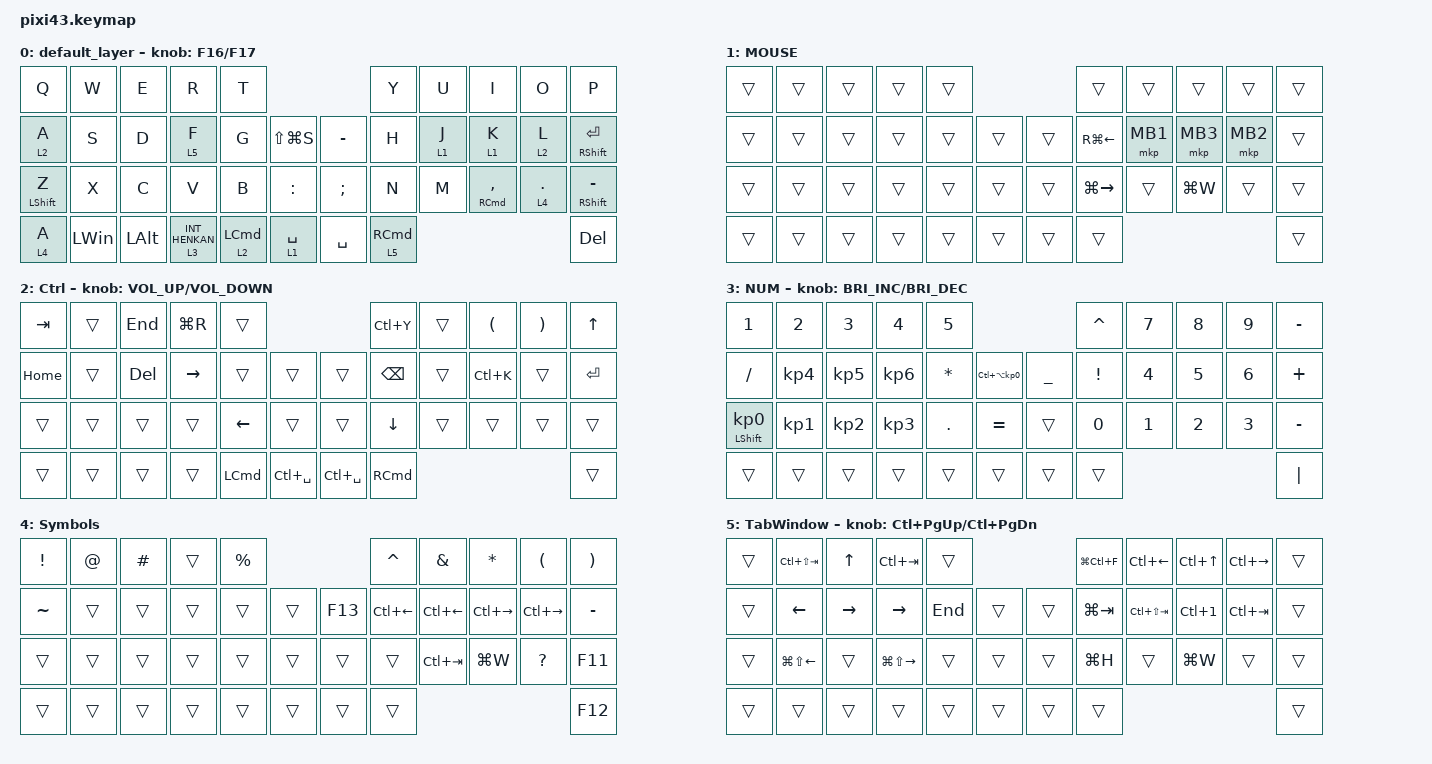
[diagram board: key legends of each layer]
#include <behaviors.dtsi>
#include <dt-bindings/zmk/keys.h>
#include <dt-bindings/zmk/pointing.h>

&mt {
    flavor = "balanced";
    quick-tap-ms = <0>;
};

&trackball {
    //automouse-layer = <1>;

    scroll-layers = <2>;
};

/ {
    combos {
        compatible = "zmk,combos";

        tab {
            bindings = <&kp TAB>;
            key-positions = <11 12>;
        };

        shift_tab {
            bindings = <&kp LS(TAB)>;
            key-positions = <12 13>;
        };

        muhennkann {
            bindings = <&to_layer_0 INT_MUHENKAN>;
            key-positions = <11 10>;
        };

        double_quotation {
            bindings = <&kp DOUBLE_QUOTES>;
            key-positions = <20 21>;
        };

        eq {
            bindings = <&kp EQUAL>;
            key-positions = <24 25>;
        };
    };

    macros {
        to_layer_0: to_layer_0 {
            compatible = "zmk,behavior-macro-one-param";
            #binding-cells = <1>;
            bindings = <&to 0 &macro_param_1to1 &kp MACRO_PLACEHOLDER>;
            label = "TO_LAYER_0";
        };
    };

    behaviors {
        lt_to_layer_0: lt_to_layer_0 {
            compatible = "zmk,behavior-hold-tap";
            label = "LAYER_TAP_TO_0";
            bindings = <&mo>, <&to_layer_0>;

            #binding-cells = <2>;
            tapping-term-ms = <200>;
        };
    };

    keymap {
        compatible = "zmk,keymap";

        default_layer {
            bindings = <
&kp Q             &kp W         &kp E         &kp R             &kp T                                                 &kp Y                &kp U    &kp I                    &kp O         &kp P
&lt 2 A           &kp S         &kp D         &lt 5 F           &kp G               &kp LS(LG(S))      &kp MINUS      &kp H                &lt 1 J  &lt 1 K                  &lt 2 L       &mt RIGHT_SHIFT ENTER
&mt LEFT_SHIFT Z  &kp X         &kp C         &kp V             &kp B               &kp COLON          &kp SEMICOLON  &kp N                &kp M    &mt RIGHT_COMMAND COMMA  &lt 4 PERIOD  &mt RIGHT_SHIFT MINUS
&lt 4 A           &kp LEFT_WIN  &kp LEFT_ALT  &lt 3 INT_HENKAN  &lt 2 LEFT_COMMAND  &lt 1 SPACE        &kp SPACE      &lt 5 RIGHT_COMMAND                                                  &kp DEL
            >;

            // Keymap Editorにそのまま反映されるシンプルなF20/F21設定

            sensor-bindings = <&inc_dec_kp F16 F17>;
        };

        MOUSE {
            bindings = <
&trans  &trans  &trans  &trans  &trans                      &trans               &trans    &trans     &trans    &trans
&trans  &trans  &trans  &trans  &trans  &trans      &trans  &kp RG(LEFT_ARROW)   &mkp MB1  &mkp MB3   &mkp MB2  &trans
&trans  &trans  &trans  &trans  &trans  &trans      &trans  &kp LG(RIGHT_ARROW)  &trans    &kp LG(W)  &trans    &trans
&trans  &trans  &trans  &trans  &trans  &trans      &trans  &trans                                              &trans
            >;
        };

        Ctrl {
            bindings = <
&kp TAB   &trans  &kp END  &kp LG(R)        &trans                                              &kp LC(Y)          &trans  &kp LEFT_PARENTHESIS  &kp RIGHT_PARENTHESIS  &kp UP_ARROW
&kp HOME  &trans  &kp DEL  &kp RIGHT_ARROW  &trans            &trans             &trans         &kp BACKSPACE      &trans  &kp LC(K)             &trans                 &kp ENTER
&trans    &trans  &trans   &trans           &kp LEFT_ARROW    &trans             &trans         &kp DOWN_ARROW     &trans  &trans                &trans                 &trans
&trans    &trans  &trans   &trans           &kp LEFT_COMMAND  &kp LC(SPACE)      &kp LC(SPACE)  &kp RIGHT_COMMAND                                                       &trans
            >;

            sensor-bindings = <&inc_dec_kp C_VOLUME_UP C_VOLUME_DOWN>;
        };

        NUM {
            bindings = <
&kp NUMBER_1                &kp NUMBER_2     &kp NUMBER_3     &kp NUMBER_4     &kp NUMBER_5                                               &kp CARET        &kp N7        &kp N8        &kp N9        &kp MINUS
&kp SLASH                   &kp KP_NUMBER_4  &kp KP_NUMBER_5  &kp KP_NUMBER_6  &kp ASTERISK  &kp LC(LA(KP_NUMBER_0))      &kp UNDERSCORE  &kp EXCLAMATION  &kp NUMBER_4  &kp NUMBER_5  &kp NUMBER_6  &kp PLUS
&mt LEFT_SHIFT KP_NUMBER_0  &kp KP_NUMBER_1  &kp KP_NUMBER_2  &kp KP_NUMBER_3  &kp PERIOD    &kp EQUAL                    &trans          &kp N0           &kp NUMBER_1  &kp NUMBER_2  &kp NUMBER_3  &kp MINUS
&trans                      &trans           &trans           &trans           &trans        &trans                       &trans          &trans                                                     &kp PIPE
            >;

            sensor-bindings = <&inc_dec_kp C_BRIGHTNESS_INC C_BRIGHTNESS_DEC>;
        };

        Symbols {
            bindings = <
&kp EXCLAMATION  &kp AT_SIGN  &kp HASH  &trans  &kp PERCENT                       &kp CARET           &kp AMPERSAND       &kp ASTERISK         &kp LEFT_PARENTHESIS  &kp RIGHT_PARENTHESIS
&kp TILDE        &trans       &trans    &trans  &trans       &trans      &kp F13  &kp LC(LEFT_ARROW)  &kp LC(LEFT_ARROW)  &kp LC(RIGHT_ARROW)  &kp LC(RIGHT_ARROW)   &kp MINUS
&trans           &trans       &trans    &trans  &trans       &trans      &trans   &trans              &kp LC(TAB)         &kp LG(W)            &kp QUESTION          &kp F11
&trans           &trans       &trans    &trans  &trans       &trans      &trans   &trans                                                                             &kp F12
            >;
        };

        TabWindow {
            bindings = <
&trans  &kp LC(LS(TAB))         &kp UP_ARROW     &kp LC(TAB)              &trans                       &kp LG(LC(F))  &kp LC(LEFT_ARROW)  &kp LC(UP_ARROW)  &kp LC(RIGHT_ARROW)  &trans
&trans  &kp LEFT_ARROW          &kp RIGHT_ARROW  &kp RIGHT_ARROW          &kp END  &trans      &trans  &kp LG(TAB)    &kp LC(LS(TAB))     &kp LC(NUMBER_1)  &kp LC(TAB)          &trans
&trans  &kp LG(LS(LEFT_ARROW))  &trans           &kp LG(LS(RIGHT_ARROW))  &trans   &trans      &trans  &kp LG(H)      &trans              &kp LG(W)         &trans               &trans
&trans  &trans                  &trans           &trans                   &trans   &trans      &trans  &trans                                                                    &trans
            >;

            sensor-bindings = <&inc_dec_kp LC(PAGE_UP) LC(PAGE_DOWN)>;
        };
    };
};
